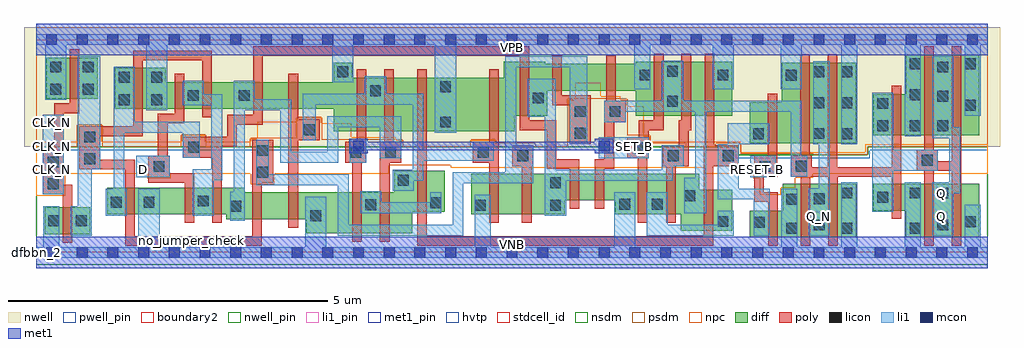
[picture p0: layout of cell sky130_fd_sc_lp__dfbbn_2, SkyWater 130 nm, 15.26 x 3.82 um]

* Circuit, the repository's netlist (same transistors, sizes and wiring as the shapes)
* Copyright 2020 The SkyWater PDK Authors
*
* Licensed under the Apache License, Version 2.0 (the "License");
* you may not use this file except in compliance with the License.
* You may obtain a copy of the License at
*
*     https://www.apache.org/licenses/LICENSE-2.0
*
* Unless required by applicable law or agreed to in writing, software
* distributed under the License is distributed on an "AS IS" BASIS,
* WITHOUT WARRANTIES OR CONDITIONS OF ANY KIND, either express or implied.
* See the License for the specific language governing permissions and
* limitations under the License.
*
* SPDX-License-Identifier: Apache-2.0

.SUBCKT sky130_fd_sc_lp__dfbbn_2 CLK_N D RESET_B SET_B VGND VNB VPB VPWR Q Q_N
*.PININFO CLK_N:I D:I RESET_B:I SET_B:I VGND:I VNB:I VPB:I VPWR:I Q:O
*.PININFO Q_N:O
MI46 clkneg clkpos VGND VNB sky130_fd_pr__nfet_01v8 m=1 w=0.42U l=0.15U mult=1
+ sa=0.265 sb=0.265 sd=0.28 area=0.063 perim=1.14
MI659 db D VGND VNB sky130_fd_pr__nfet_01v8 m=1 w=0.42U l=0.15U mult=1 sa=0.265
+ sb=0.265 sd=0.28 area=0.063 perim=1.14
MI642 RESET RESET_B VGND VNB sky130_fd_pr__nfet_01v8 m=1 w=0.42U l=0.15U mult=1
+ sa=0.265 sb=0.265 sd=0.28 area=0.063 perim=1.14
MI676 M1 M0 net141 VNB sky130_fd_pr__nfet_01v8 m=1 w=0.64U l=0.15U mult=1 sa=0.265
+ sb=0.265 sd=0.28 area=0.063 perim=1.14
MI675 net141 SET_B VGND VNB sky130_fd_pr__nfet_01v8 m=1 w=0.64U l=0.15U mult=1
+ sa=0.265 sb=0.265 sd=0.28 area=0.063 perim=1.14
MI653 Q net166 VGND VNB sky130_fd_pr__nfet_01v8 m=2 w=0.84U l=0.15U mult=1 sa=0.265
+ sb=0.265 sd=0.28 area=0.063 perim=1.14
MI677 M1 RESET net141 VNB sky130_fd_pr__nfet_01v8 m=1 w=0.64U l=0.15U mult=1 sa=0.265
+ sb=0.265 sd=0.28 area=0.063 perim=1.14
MI648 M0 clkpos net122 VNB sky130_fd_pr__nfet_01v8 m=1 w=0.42U l=0.15U mult=1 sa=0.265
+ sb=0.265 sd=0.28 area=0.063 perim=1.14
MI44 clkpos CLK_N VGND VNB sky130_fd_pr__nfet_01v8 m=1 w=0.42U l=0.15U mult=1 sa=0.265
+ sb=0.265 sd=0.28 area=0.063 perim=1.14
MI649 net122 M1 VGND VNB sky130_fd_pr__nfet_01v8 m=1 w=0.42U l=0.15U mult=1 sa=0.265
+ sb=0.265 sd=0.28 area=0.063 perim=1.14
MI655 S0 clkneg net114 VNB sky130_fd_pr__nfet_01v8 m=1 w=0.42U l=0.15U mult=1 sa=0.265
+ sb=0.265 sd=0.28 area=0.063 perim=1.14
MI654 net114 net90 VGND VNB sky130_fd_pr__nfet_01v8 m=1 w=0.42U l=0.15U mult=1
+ sa=0.265 sb=0.265 sd=0.28 area=0.063 perim=1.14
MI651 Q_N net90 VGND VNB sky130_fd_pr__nfet_01v8 m=2 w=0.84U l=0.15U mult=1 sa=0.265
+ sb=0.265 sd=0.28 area=0.063 perim=1.14
MI652 net166 net90 VGND VNB sky130_fd_pr__nfet_01v8 m=1 w=0.42U l=0.15U mult=1
+ sa=0.265 sb=0.265 sd=0.28 area=0.063 perim=1.14
MI42 db clkneg M0 VNB sky130_fd_pr__nfet_01v8 m=1 w=0.42U l=0.15U mult=1 sa=0.265
+ sb=0.265 sd=0.28 area=0.063 perim=1.14
MI668 S0 clkpos net101 VNB sky130_fd_pr__nfet_01v8 m=1 w=0.64U l=0.15U mult=1 sa=0.265
+ sb=0.265 sd=0.28 area=0.063 perim=1.14
MI667 net101 M1 VGND VNB sky130_fd_pr__nfet_01v8 m=1 w=0.64U l=0.15U mult=1 sa=0.265
+ sb=0.265 sd=0.28 area=0.063 perim=1.14
MI630 net90 RESET net89 VNB sky130_fd_pr__nfet_01v8 m=1 w=0.64U l=0.15U mult=1
+ sa=0.265 sb=0.265 sd=0.28 area=0.063 perim=1.14
MI3 net90 S0 net89 VNB sky130_fd_pr__nfet_01v8 m=1 w=0.64U l=0.15U mult=1 sa=0.265
+ sb=0.265 sd=0.28 area=0.063 perim=1.14
MI7 net89 SET_B VGND VNB sky130_fd_pr__nfet_01v8 m=1 w=0.64U l=0.15U mult=1 sa=0.265
+ sb=0.265 sd=0.28 area=0.063 perim=1.14
MI679 M1 SET_B VPWR VPB sky130_fd_pr__pfet_01v8_hvt m=1 w=0.84U l=0.15U mult=1
+ sa=0.265 sb=0.265 sd=0.28 area=0.063 perim=1.14
MI669 S0 clkneg net222 VPB sky130_fd_pr__pfet_01v8_hvt m=1 w=0.84U l=0.15U mult=1
+ sa=0.265 sb=0.265 sd=0.28 area=0.063 perim=1.14
MI660 Q net166 VPWR VPB sky130_fd_pr__pfet_01v8_hvt m=2 w=1.26U l=0.15U mult=1
+ sa=0.265 sb=0.265 sd=0.28 area=0.063 perim=1.14
MI9 net90 S0 net225 VPB sky130_fd_pr__pfet_01v8_hvt m=1 w=0.84U l=0.15U mult=1
+ sa=0.265 sb=0.265 sd=0.28 area=0.063 perim=1.14
MI670 net222 M1 VPWR VPB sky130_fd_pr__pfet_01v8_hvt m=1 w=0.84U l=0.15U mult=1
+ sa=0.265 sb=0.265 sd=0.28 area=0.063 perim=1.14
MI678 net169 RESET VPWR VPB sky130_fd_pr__pfet_01v8_hvt m=1 w=0.84U l=0.15U mult=1
+ sa=0.265 sb=0.265 sd=0.28 area=0.063 perim=1.14
MI662 net214 net90 VPWR VPB sky130_fd_pr__pfet_01v8_hvt m=1 w=0.42U l=0.15U mult=1
+ sa=0.265 sb=0.265 sd=0.28 area=0.063 perim=1.14
MI664 S0 clkpos net214 VPB sky130_fd_pr__pfet_01v8_hvt m=1 w=0.42U l=0.15U mult=1
+ sa=0.265 sb=0.265 sd=0.28 area=0.063 perim=1.14
MI10 net90 SET_B VPWR VPB sky130_fd_pr__pfet_01v8_hvt m=1 w=0.84U l=0.15U mult=1
+ sa=0.265 sb=0.265 sd=0.28 area=0.063 perim=1.14
MI11 net225 RESET VPWR VPB sky130_fd_pr__pfet_01v8_hvt m=1 w=0.84U l=0.15U mult=1
+ sa=0.265 sb=0.265 sd=0.28 area=0.063 perim=1.14
MI650 net198 M1 VPWR VPB sky130_fd_pr__pfet_01v8_hvt m=1 w=0.42U l=0.15U mult=1
+ sa=0.265 sb=0.265 sd=0.28 area=0.063 perim=1.14
MI665 db D VPWR VPB sky130_fd_pr__pfet_01v8_hvt m=1 w=0.42U l=0.15U mult=1 sa=0.265
+ sb=0.265 sd=0.28 area=0.063 perim=1.14
MI43 db clkpos M0 VPB sky130_fd_pr__pfet_01v8_hvt m=1 w=0.42U l=0.15U mult=1 sa=0.265
+ sb=0.265 sd=0.28 area=0.063 perim=1.14
MI656 M0 clkneg net198 VPB sky130_fd_pr__pfet_01v8_hvt m=1 w=0.42U l=0.15U mult=1
+ sa=0.265 sb=0.265 sd=0.28 area=0.063 perim=1.14
MI643 RESET RESET_B VPWR VPB sky130_fd_pr__pfet_01v8_hvt m=1 w=0.64U l=0.15U mult=1
+ sa=0.265 sb=0.265 sd=0.28 area=0.063 perim=1.14
MI47 clkneg clkpos VPWR VPB sky130_fd_pr__pfet_01v8_hvt m=1 w=0.64U l=0.15U mult=1
+ sa=0.265 sb=0.265 sd=0.28 area=0.063 perim=1.14
MI45 clkpos CLK_N VPWR VPB sky130_fd_pr__pfet_01v8_hvt m=1 w=0.64U l=0.15U mult=1
+ sa=0.265 sb=0.265 sd=0.28 area=0.063 perim=1.14
MI680 M1 M0 net169 VPB sky130_fd_pr__pfet_01v8_hvt m=1 w=0.84U l=0.15U mult=1 sa=0.265
+ sb=0.265 sd=0.28 area=0.063 perim=1.14
MI663 net166 net90 VPWR VPB sky130_fd_pr__pfet_01v8_hvt m=1 w=0.64U l=0.15U mult=1
+ sa=0.265 sb=0.265 sd=0.28 area=0.063 perim=1.14
MI661 Q_N net90 VPWR VPB sky130_fd_pr__pfet_01v8_hvt m=2 w=1.26U l=0.15U mult=1
+ sa=0.265 sb=0.265 sd=0.28 area=0.063 perim=1.14
.ENDS sky130_fd_sc_lp__dfbbn_2

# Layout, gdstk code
import gdstk
lib = gdstk.Library(unit=1e-6, precision=1e-09)
def R(c, l, rs):  # rectangles x0, y0, x1, y1
    for r in rs: c.add(gdstk.rectangle(r[:2], r[2:], *l))
def A(c, l, x, y, w, h, nx, ny, dx, dy):  # array of equal rectangles
    R(c, l, [(x+i*dx, y+j*dy, x+i*dx+w, y+j*dy+h) for i in range(nx) for j in range(ny)])
def P(c, l, *ps):  # polygons
    for p in ps: c.add(gdstk.Polygon(p, *l))
nwell_pin = (64, 16)
nwell = (64, 20)
diff = (65, 20)
poly = (66, 20)
licon = (66, 44)
li1_pin = (67, 16)
li1 = (67, 20)
mcon = (67, 44)
met1_pin = (68, 16)
met1 = (68, 20)
hvtp = (78, 44)
stdcell_id = (81, 4)
nsdm = (93, 44)
psdm = (94, 20)
npc = (95, 20)
pwell_pin = (122, 16)
boundary2 = (236, 0)

sky130_fd_sc_lp__dfbbn_2 = lib.new_cell('sky130_fd_sc_lp__dfbbn_2')
R(sky130_fd_sc_lp__dfbbn_2, nwell_pin, [(0,3.085,14.88,3.33)])
P(sky130_fd_sc_lp__dfbbn_2, nwell, [(15.07,3.52),(-0.19,3.52),(-0.19,1.655),(10.975,1.655),(10.975,1.53),(13,1.53),(13,1.655),(15.07,1.655)])
R(sky130_fd_sc_lp__dfbbn_2, diff, [(0.135,0.285,0.845,0.705), (0.16,2.405,0.96,3.045)])
P(sky130_fd_sc_lp__dfbbn_2, diff, [(6.39,1.275),(5.6,1.275),(5.6,0.94),(3.265,0.94),(3.265,1.015),(1.115,1.015),(1.115,0.595),(2.975,0.595),(2.975,0.52),(4.225,0.52),(4.225,0.3),(5.88,0.3),(5.88,0.635),(6.39,0.635)],
  [(10.885,2.98),(9.375,2.98),(9.375,2.95),(7.96,2.95),(7.96,2.98),(7.31,2.98),(7.31,2.735),(4.94,2.735),(4.94,2.97),(4.65,2.97),(4.65,2.665),(2.03,2.665),(2.03,2.885),(1.23,2.885),(1.23,2.245),(4.65,2.245),(4.65,1.895),(7.485,1.895),(7.485,2.14),(7.995,2.14),(7.995,2.53),(9.375,2.53),(9.375,2.14),(10.885,2.14)],
  [(10.885,0.98),(10.365,0.98),(10.365,1.235),(6.8,1.235),(6.8,0.595),(8.265,0.595),(8.265,0.815),(9.055,0.815),(9.055,0.595),(10.075,0.595),(10.075,0.34),(10.885,0.34)],
  [(12.82,2.97),(11.66,2.97),(11.66,2.35),(11.155,2.35),(11.155,1.71),(12.82,1.71)],
  [(12.82,1.075),(11.67,1.075),(11.67,0.655),(11.16,0.655),(11.16,0.235),(12.82,0.235)],
  [(14.745,3.095),(13.6,3.095),(13.6,2.475),(13.09,2.475),(13.09,1.835),(14.745,1.835)],
  [(14.745,1.075),(13.09,1.075),(13.09,0.655),(13.6,0.655),(13.6,0.235),(14.745,0.235)])
P(sky130_fd_sc_lp__dfbbn_2, poly, [(0.675,3.175),(0.525,3.175),(0.525,2.33),(0.285,2.33),(0.285,1.58),(0.105,1.58),(0.105,0.91),(0.415,0.91),(0.415,0.155),(0.565,0.155),(0.565,1.06),(0.435,1.06),(0.435,2.18),(0.675,2.18)],
  [(2.47,1.24),(2.085,1.24),(2.085,1.51),(2.055,1.51),(2.055,2.02),(2.315,2.02),(2.315,2.795),(2.165,2.795),(2.165,2.17),(1.905,2.17),(1.905,1.51),(1.755,1.51),(1.755,1.09),(2.32,1.09),(2.32,0.465),(2.47,0.465)],
  [(3.705,1.76),(3.375,1.76),(3.375,0.255),(1.545,0.255),(1.545,1.45),(1.005,1.45),(1.005,1.82),(1.665,1.82),(1.665,3.005),(2.595,3.005),(2.595,2.115),(2.745,2.115),(2.745,3.155),(1.515,3.155),(1.515,1.97),(0.675,1.97),(0.675,1.3),(1.395,1.3),(1.395,0.105),(3.525,0.105),(3.525,1.09),(3.705,1.09)],
  [(4.435,2.085),(4.095,2.085),(4.095,2.795),(3.945,2.795),(3.945,0.39),(4.095,0.39),(4.095,1.755),(4.435,1.755)],
  [(5.165,2.865),(5.015,2.865),(5.015,1.735),(4.835,1.735),(4.835,1.405),(4.94,1.405),(4.94,0.17),(5.09,0.17),(5.09,1.405),(5.165,1.405)],
  [(5.705,1.735),(5.595,1.735),(5.595,2.865),(5.445,2.865),(5.445,1.735),(5.375,1.735),(5.375,0.17),(5.525,0.17),(5.525,1.405),(5.705,1.405)],
  [(7.235,2.865),(7.085,2.865),(7.085,1.735),(6.825,1.735),(6.825,1.405),(7.085,1.405),(7.085,0.465),(7.235,0.465)],
  [(7.775,1.675),(7.445,1.675),(7.445,1.345),(7.595,1.345),(7.595,0.465),(7.745,0.465),(7.745,1.345),(7.775,1.345)],
  [(8.49,1.46),(8.135,1.46),(8.135,2.065),(7.71,2.065),(7.71,3.225),(3.395,3.225),(3.395,2.15),(2.985,2.15),(2.985,1.81),(2.295,1.81),(2.295,1.48),(2.75,1.48),(2.75,0.465),(2.9,0.465),(2.9,1.66),(3.135,1.66),(3.135,2),(3.545,2),(3.545,3.075),(7.56,3.075),(7.56,1.915),(7.985,1.915),(7.985,1.31),(8.34,1.31),(8.34,0.685),(8.49,0.685)],
  [(8.675,2.455),(8.22,2.455),(8.22,3.08),(8.07,3.08),(8.07,2.305),(8.345,2.305),(8.345,1.7),(8.675,1.7)],
  [(9.215,2.37),(9.065,2.37),(9.065,3.08),(8.915,3.08),(8.915,2.37),(8.885,2.37),(8.885,1.46),(8.73,1.46),(8.73,0.685),(8.88,0.685),(8.88,1.31),(9.035,1.31),(9.035,2.04),(9.215,2.04)],
  [(9.81,3.11),(9.66,3.11),(9.66,2.065),(9.425,2.065),(9.425,1.8),(9.245,1.8),(9.245,1.47),(9.405,1.47),(9.405,0.465),(9.555,0.465),(9.555,1.47),(9.575,1.47),(9.575,1.915),(9.81,1.915)],
  [(10.24,3.11),(10.09,3.11),(10.09,2.065),(10.05,2.065),(10.05,1.675),(9.795,1.675),(9.795,1.345),(9.85,1.345),(9.85,0.465),(10,0.465),(10,1.345),(10.2,1.345),(10.2,1.915),(10.24,1.915)],
  [(10.985,1.675),(10.6,1.675),(10.6,3.11),(10.45,3.11),(10.45,1.675),(10.44,1.675),(10.44,0.255),(6.105,0.255),(6.105,2.865),(5.955,2.865),(5.955,0.105),(10.59,0.105),(10.59,1.345),(10.985,1.345)],
  [(11.595,0.945),(11.38,0.945),(11.38,1.18),(11.585,1.18),(11.585,2.48),(11.435,2.48),(11.435,1.51),(11.23,1.51),(11.23,0.795),(11.445,0.795),(11.445,0.105),(11.595,0.105)],
  [(13.525,2.605),(13.375,2.605),(13.375,1.335),(12.525,1.335),(12.525,3.1),(12.375,3.1),(12.375,1.335),(12.125,1.335),(12.125,1.515),(12.095,1.515),(12.095,3.1),(11.945,3.1),(11.945,1.515),(11.795,1.515),(11.795,1.185),(11.955,1.185),(11.955,0.105),(12.105,0.105),(12.105,1.185),(12.385,1.185),(12.385,0.105),(12.535,0.105),(12.535,1.185),(13.375,1.185),(13.375,0.525),(13.525,0.525)],
  [(14.465,3.225),(14.315,3.225),(14.315,1.425),(14.095,1.425),(14.095,1.605),(14.035,1.605),(14.035,3.225),(13.885,3.225),(13.885,1.605),(13.765,1.605),(13.765,1.275),(13.885,1.275),(13.885,0.105),(14.035,0.105),(14.035,1.275),(14.315,1.275),(14.315,0.105),(14.465,0.105)])
A(sky130_fd_sc_lp__dfbbn_2, licon, 12.59, 1.77, 0.17, 0.17, 1, 3, 0, 0.485)
A(sky130_fd_sc_lp__dfbbn_2, licon, 13.66, 1.895, 0.17, 0.17, 1, 3, 0, 0.485)
A(sky130_fd_sc_lp__dfbbn_2, licon, 14.09, 1.895, 0.17, 0.17, 1, 3, 0, 0.46)
R(sky130_fd_sc_lp__dfbbn_2, licon, [(11.73,0.295,11.9,0.465), (12.59,0.295,12.76,0.465), (13.66,0.295,13.83,0.465), (12.16,0.345,12.33,0.515), (14.09,0.345,14.26,0.515), (11.22,0.385,11.39,0.555), (14.52,0.395,14.69,0.565), (10.655,0.4,10.825,0.57), (0.19,0.41,0.36,0.58), (0.62,0.41,0.79,0.58), (4.285,0.49,4.455,0.66), (3.035,0.64,3.205,0.81), (6.86,0.655,7.03,0.825), (8.035,0.655,8.205,0.825), (5.145,0.66,5.315,0.83), (9.115,0.67,9.285,0.84), (9.625,0.67,9.795,0.84), (6.16,0.695,6.33,0.865), (1.17,0.7,1.34,0.87), (1.68,0.7,1.85,0.87), (2.525,0.72,2.695,0.89), (11.73,0.75,11.9,0.92), (12.16,0.755,12.33,0.925), (13.15,0.78,13.32,0.95), (10.135,0.805,10.305,0.975), (12.59,0.845,12.76,1.015), (13.66,0.845,13.83,1.015), (14.09,0.845,14.26,1.015), (0.185,0.99,0.355,1.16), (8.035,1.005,8.205,1.175), (5.655,1.045,5.825,1.215), (3.455,1.17,3.625,1.34), (1.835,1.26,2.005,1.43), (11.31,1.26,11.48,1.43), (11.875,1.265,12.045,1.435), (0.185,1.33,0.355,1.5), (13.845,1.355,14.015,1.525), (0.755,1.38,0.925,1.55), (7.525,1.425,7.695,1.595), (9.875,1.425,10.045,1.595), (10.735,1.425,10.905,1.595), (4.915,1.485,5.085,1.655), (5.455,1.485,5.625,1.655), (6.905,1.485,7.075,1.655), (3.455,1.51,3.625,1.68), (9.325,1.55,9.495,1.72), (2.375,1.56,2.545,1.73), (0.755,1.72,0.925,1.89), (11.21,1.77,11.38,1.94), (12.15,1.775,12.32,1.945), (8.425,1.78,8.595,1.95), (4.185,1.835,4.355,2.005), (13.15,1.895,13.32,2.065), (6.315,1.955,6.485,2.125), (8.425,2.12,8.595,2.29), (8.965,2.12,9.135,2.29), (14.52,2.215,14.69,2.385), (13.15,2.245,13.32,2.415), (12.15,2.255,12.32,2.425), (9.865,2.28,10.035,2.45), (1.29,2.305,1.46,2.475), (1.8,2.305,1.97,2.475), (7.765,2.33,7.935,2.5), (2.37,2.37,2.54,2.54), (3.17,2.37,3.34,2.54), (5.22,2.445,5.39,2.615), (0.22,2.465,0.39,2.635), (0.73,2.465,0.9,2.635), (6.315,2.505,6.485,2.675), (1.29,2.655,1.46,2.825), (1.8,2.655,1.97,2.825), (11.72,2.685,11.89,2.855), (9.435,2.69,9.605,2.86), (10.655,2.69,10.825,2.86), (4.71,2.74,4.88,2.91), (12.15,2.74,12.32,2.91), (9.865,2.75,10.035,2.92), (0.22,2.815,0.39,2.985), (0.73,2.815,0.9,2.985), (14.52,2.865,14.69,3.035)])
A(sky130_fd_sc_lp__dfbbn_2, li1_pin, 0.155, 1.21, 0.17, 0.17, 1, 3, 0, 0.37)
R(sky130_fd_sc_lp__dfbbn_2, li1_pin, [(12.155,0.47,12.325,0.64), (14.075,0.47,14.245,0.64), (14.075,0.84,14.245,1.01), (1.595,1.21,1.765,1.38), (11.195,1.21,11.365,1.38), (9.275,1.58,9.445,1.75)])
R(sky130_fd_sc_lp__dfbbn_2, li1, [(0.105,0.91,0.435,2.15), (1.565,1.18,2.085,1.51), (11.165,1.18,11.56,1.51), (4.9,1.405,5.165,1.78), (8.795,1.47,9.575,1.8)])
P(sky130_fd_sc_lp__dfbbn_2, li1, [(0.14,2.385),(0.14,3.245),(0,3.245),(0,3.415),(14.88,3.415),(14.88,3.245),(14.77,3.245),(14.77,2.135),(14.52,2.135),(14.52,3.245),(13.83,3.245),(13.83,1.815),(13.58,1.815),(13.58,3.245),(12.84,3.245),(12.84,1.69),(12.59,1.69),(12.59,3.245),(11.97,3.245),(11.97,2.55),(11.64,2.55),(11.64,3.245),(10.905,3.245),(10.905,2.55),(10.575,2.55),(10.575,3.245),(9.605,3.245),(9.605,2.55),(9.355,2.55),(9.355,3.245),(6.565,3.245),(6.565,1.875),(6.235,1.875),(6.235,3.245),(4.96,3.245),(4.96,2.66),(4.63,2.66),(4.63,3.245),(2.05,3.245),(2.05,2.225),(1.72,2.225),(1.72,3.245),(0.47,3.245),(0.47,2.385)],
  [(0.11,0.085),(0.11,0.725),(0.36,0.725),(0.36,0.085),(1.6,0.085),(1.6,1),(1.93,1),(1.93,0.085),(4.205,0.085),(4.205,0.875),(4.535,0.875),(4.535,0.085),(6.86,0.085),(6.86,0.905),(7.11,0.905),(7.11,0.085),(9.035,0.085),(9.035,0.94),(9.365,0.94),(9.365,0.085),(11.65,0.085),(11.65,1),(11.9,1),(11.9,0.085),(12.59,0.085),(12.59,1.095),(12.84,1.095),(12.84,0.085),(13.58,0.085),(13.58,1.095),(13.83,1.095),(13.83,0.085),(14.52,0.085),(14.52,0.745),(14.77,0.745),(14.77,0.085),(14.88,0.085),(14.88,-0.085),(0,-0.085),(0,0.085)],
  [(6.51,1.255),(7.335,1.255),(7.335,3.065),(8.615,3.065),(8.615,1.7),(8.345,1.7),(8.345,2.895),(7.505,2.895),(7.505,1.675),(7.775,1.675),(7.775,1.085),(6.68,1.085),(6.68,0.265),(4.715,0.265),(4.715,1.055),(3.44,1.055),(3.44,1.76),(3.64,1.76),(3.64,1.225),(4.885,1.225),(4.885,0.435),(6.51,0.435)],
  [(2.445,0.575),(2.445,1.3),(2.74,1.3),(2.74,2.305),(2.29,2.305),(2.29,2.685),(2.62,2.685),(2.62,2.475),(2.91,2.475),(2.91,1.13),(2.775,1.13),(2.775,0.575)],
  [(4.55,2.13),(5.705,2.13),(5.705,1.475),(5.375,1.475),(5.375,1.96),(4.72,1.96),(4.72,1.405),(3.82,1.405),(3.82,2.225),(3.26,2.225),(3.26,0.5),(3.035,0.5),(3.035,0.95),(3.09,0.95),(3.09,2.685),(3.42,2.685),(3.42,2.395),(3.99,2.395),(3.99,1.575),(4.55,1.575)],
  [(6.055,1.125),(5.905,1.125),(5.905,0.965),(5.575,0.965),(5.575,1.295),(5.885,1.295),(5.885,2.31),(4.37,2.31),(4.37,1.755),(4.17,1.755),(4.17,2.48),(5.14,2.48),(5.14,2.755),(5.47,2.755),(5.47,2.48),(6.055,2.48),(6.055,1.605),(6.825,1.605),(6.825,1.735),(7.155,1.735),(7.155,1.435),(6.055,1.435)],
  [(9.545,0.265),(9.545,0.94),(9.875,0.94),(9.875,0.435),(10.655,0.435),(10.655,0.65),(10.905,0.65),(10.905,0.265)],
  [(9.955,1.12),(8.285,1.12),(8.285,0.575),(7.955,0.575),(7.955,2.12),(7.685,2.12),(7.685,2.715),(8.125,2.715),(8.125,1.29),(9.785,1.29),(9.785,1.675),(10.125,1.675),(10.125,1.345),(9.955,1.345)],
  [(14.275,1.095),(14.275,1.785),(14.01,1.785),(14.01,3.065),(14.34,3.065),(14.34,1.955),(14.445,1.955),(14.445,0.925),(14.34,0.925),(14.34,0.265),(14.01,0.265),(14.01,1.095)],
  [(13.4,1.275),(13.4,0.635),(13.07,0.635),(13.07,2.495),(13.4,2.495),(13.4,1.605),(14.095,1.605),(14.095,1.275)],
  [(0.54,0.265),(0.54,0.725),(0.65,0.725),(0.65,3.065),(1.005,3.065),(1.005,1.3),(0.87,1.3),(0.87,0.265)],
  [(1.54,2.045),(2.56,2.045),(2.56,1.48),(2.295,1.48),(2.295,1.875),(1.38,1.875),(1.38,1),(1.42,1),(1.42,0.575),(1.09,0.575),(1.09,1),(1.21,1),(1.21,2.905),(1.54,2.905)],
  [(10.655,0.83),(10.655,1.69),(10.815,1.69),(10.815,2.02),(11.46,2.02),(11.46,1.69),(10.985,1.69),(10.985,1),(11.47,1),(11.47,0.265),(11.22,0.265),(11.22,0.83)],
  [(10.135,0.615),(10.135,1.165),(10.305,1.165),(10.305,2.2),(9.215,2.2),(9.215,2.04),(8.885,2.04),(8.885,2.37),(9.785,2.37),(9.785,3),(10.115,3),(10.115,2.37),(11.965,2.37),(11.965,1.515),(12.06,1.515),(12.06,1.185),(11.795,1.185),(11.795,2.2),(10.475,2.2),(10.475,0.615)],
  [(6.16,0.785),(6.16,0.945),(6.33,0.945),(6.33,0.615),(5.065,0.615),(5.065,0.96),(5.395,0.96),(5.395,0.785)],
  [(12.08,0.265),(12.08,1.005),(12.24,1.005),(12.24,1.695),(12.15,1.695),(12.15,2.99),(12.41,2.99),(12.41,0.265)])
A(sky130_fd_sc_lp__dfbbn_2, mcon, 0.155, -0.085, 0.17, 0.17, 31, 2, 0.48, 3.33)
R(sky130_fd_sc_lp__dfbbn_2, mcon, [(4.955,1.58,5.125,1.75), (8.795,1.58,8.965,1.75)])
R(sky130_fd_sc_lp__dfbbn_2, met1_pin, [(0,0,14.88,0.245), (0,3.085,14.88,3.33)])
R(sky130_fd_sc_lp__dfbbn_2, met1, [(0,-0.245,14.88,0.245), (0,3.085,14.88,3.575)])
P(sky130_fd_sc_lp__dfbbn_2, met1, [(5.185,1.735),(8.735,1.735),(8.735,1.78),(9.025,1.78),(9.025,1.55),(8.735,1.55),(8.735,1.595),(5.185,1.595),(5.185,1.55),(4.895,1.55),(4.895,1.78),(5.185,1.78)])
P(sky130_fd_sc_lp__dfbbn_2, hvtp, [(14.88,3.33),(0,3.33),(0,1.6),(10.94,1.6),(10.94,1.475),(13.03,1.475),(13.03,1.6),(14.88,1.6)])
R(sky130_fd_sc_lp__dfbbn_2, stdcell_id, [(0,0,14.88,3.33)])
P(sky130_fd_sc_lp__dfbbn_2, nsdm, [(14.88,1.655),(13,1.655),(13,1.53),(10.975,1.53),(10.975,1.655),(0,1.655),(0,-0.19),(14.88,-0.19)])
P(sky130_fd_sc_lp__dfbbn_2, psdm, [(14.88,3.52),(0,3.52),(0,1.655),(0.645,1.655),(0.645,2),(1.035,2),(1.035,1.655),(2.265,1.655),(2.265,1.84),(2.655,1.84),(2.655,1.655),(3.345,1.655),(3.345,1.79),(4.075,1.79),(4.075,2.115),(4.465,2.115),(4.465,1.765),(5.735,1.765),(5.735,1.655),(6.795,1.655),(6.795,1.765),(7.185,1.765),(7.185,1.705),(7.805,1.705),(7.805,1.655),(8.315,1.655),(8.315,2.4),(9.245,2.4),(9.245,1.83),(9.605,1.83),(9.605,1.705),(10.155,1.705),(10.155,1.655),(10.625,1.655),(10.625,1.705),(11.015,1.705),(11.015,1.54),(11.765,1.54),(11.765,1.545),(12.155,1.545),(12.155,1.53),(13,1.53),(13,1.655),(14.88,1.655)])
P(sky130_fd_sc_lp__dfbbn_2, npc, [(14.88,1.695),(12.96,1.695),(12.96,1.57),(11.015,1.57),(11.015,1.73),(9.595,1.73),(9.595,1.82),(9.5,1.82),(9.5,2.285),(9.235,2.285),(9.235,2.39),(9.13,2.39),(9.13,2.44),(8.825,2.44),(8.825,2.655),(8.43,2.655),(8.43,2.39),(8.325,2.39),(8.325,1.73),(7.175,1.73),(7.175,1.755),(6.805,1.755),(6.805,1.73),(5.725,1.73),(5.725,1.755),(5.62,1.755),(5.62,1.805),(4.925,1.805),(4.925,2.02),(4.455,2.02),(4.455,2.105),(4.085,2.105),(4.085,2.045),(3.46,2.045),(3.46,1.78),(3.355,1.78),(3.355,1.73),(2.645,1.73),(2.645,1.83),(2.275,1.83),(2.275,1.73),(1.025,1.73),(1.025,1.99),(0.655,1.99),(0.655,1.73),(0,1.73),(0,0.89),(0.455,0.89),(0.455,1.23),(1.735,1.23),(1.735,1.16),(2.105,1.16),(2.105,1.23),(3.355,1.23),(3.355,1.07),(3.725,1.07),(3.725,1.23),(5.51,1.23),(5.51,1.365),(6.48,1.365),(6.48,1.325),(10.455,1.325),(10.455,1.23),(11.21,1.23),(11.21,1.16),(11.315,1.16),(11.315,0.9),(11.64,0.9),(11.64,1.01),(11.865,1.01),(11.865,1.165),(12.145,1.165),(12.145,1.23),(14.88,1.23)])
R(sky130_fd_sc_lp__dfbbn_2, pwell_pin, [(0,0,14.88,0.245)])
R(sky130_fd_sc_lp__dfbbn_2, boundary2, [(0,0,14.88,3.33)])
sky130_fd_sc_lp__dfbbn_2.add(gdstk.Label('VNB', (7.44,0.123), layer=64, texttype=59))
sky130_fd_sc_lp__dfbbn_2.add(gdstk.Label('VPB', (7.44,3.208), layer=64, texttype=5))
sky130_fd_sc_lp__dfbbn_2.add(gdstk.Label('dfbbn_2', (0,0), layer=83, texttype=44))
sky130_fd_sc_lp__dfbbn_2.add(gdstk.Label('no_jumper_check', (2.43,0.195), layer=83, texttype=44))
sky130_fd_sc_lp__dfbbn_2.add(gdstk.Label('VPWR', (7.44,3.208), layer=68, texttype=5))
sky130_fd_sc_lp__dfbbn_2.add(gdstk.Label('VGND', (7.44,0.123), layer=68, texttype=5))
sky130_fd_sc_lp__dfbbn_2.add(gdstk.Label('D', (1.68,1.295), layer=67, texttype=5))
sky130_fd_sc_lp__dfbbn_2.add(gdstk.Label('CLK_N', (0.24,1.295), layer=67, texttype=5))
sky130_fd_sc_lp__dfbbn_2.add(gdstk.Label('CLK_N', (0.24,1.665), layer=67, texttype=5))
sky130_fd_sc_lp__dfbbn_2.add(gdstk.Label('CLK_N', (0.24,2.035), layer=67, texttype=5))
sky130_fd_sc_lp__dfbbn_2.add(gdstk.Label('RESET_B', (11.28,1.295), layer=67, texttype=5))
sky130_fd_sc_lp__dfbbn_2.add(gdstk.Label('SET_B', (9.36,1.665), layer=67, texttype=5))
sky130_fd_sc_lp__dfbbn_2.add(gdstk.Label('Q', (14.16,0.555), layer=67, texttype=5))
sky130_fd_sc_lp__dfbbn_2.add(gdstk.Label('Q', (14.16,0.925), layer=67, texttype=5))
sky130_fd_sc_lp__dfbbn_2.add(gdstk.Label('Q_N', (12.24,0.555), layer=67, texttype=5))

lib.write_gds('sky130_fd_sc_lp__dfbbn_2.gds')
